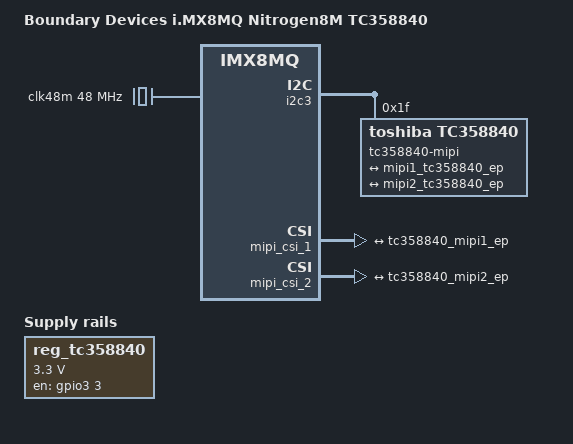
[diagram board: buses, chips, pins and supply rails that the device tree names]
// SPDX-License-Identifier: (GPL-2.0+ OR MIT)
/*
 * Copyright 2020 Boundary Devices
 */

#include "imx8mq-nitrogen8m.dts"

/ {
	model = "Boundary Devices i.MX8MQ Nitrogen8M TC358840";
	compatible = "boundary,imx8mq-nitrogen8m-tc358840", "fsl,imx8mq";

	clk48m: clk48m {
		compatible = "fixed-clock";
		clock-output-names = "clk48m";
		clock-frequency = <48000000>;
		#clock-cells = <0>;
	};

	reg_tc358840: regulator-tc358840 {
		compatible = "regulator-fixed";
		pinctrl-names = "default";
		pinctrl-0 = <&pinctrl_reg_tc358840>;
		regulator-name = "tc358840";
		regulator-min-microvolt = <3300000>;
		regulator-max-microvolt = <3300000>;
		gpio = <&gpio3 3 GPIO_ACTIVE_HIGH>;
		enable-active-high;
		regulator-always-on;
	};
};

&iomuxc {
	/delete-node/ i2c2-ov5640-mipigrp;
	/delete-node/ i2c3-ov5640-mipigrp;

	pinctrl_i2c3_tc358840_mipi: i2c3-tc358840-mipigrp {
		fsl,pins = <
#define GPIRQ_CSI_TC358840	<&gpio3 5 IRQ_TYPE_LEVEL_HIGH>
			MX8MQ_IOMUXC_NAND_CLE_GPIO3_IO5			0x45
#define GP_CSI2_TC358840_RESET	<&gpio3 2 GPIO_ACTIVE_LOW>
			MX8MQ_IOMUXC_NAND_CE1_B_GPIO3_IO2		0x05
		>;
	};

	pinctrl_reg_tc358840: reg-tc358840grp {
		fsl,pins = <
			MX8MQ_IOMUXC_NAND_CE2_B_GPIO3_IO3		0x45
		>;
	};
};

&i2c2 {
	/delete-node/ ov5640-mipi1@3c;
};

&i2c3 {
	/delete-node/ ov5640-mipi2@3c;

	tc358840-mipi@1f {
		compatible = "toshiba,tc358840";
		reg = <0x1f>;
		clocks = <&clk48m>;
		clock-names = "refclk";
		interrupts-extended = GPIRQ_CSI_TC358840;
		reset-gpios = GP_CSI2_TC358840_RESET;
		pinctrl-names = "default";
		pinctrl-0 = <&pinctrl_i2c3_tc358840_mipi>;
		status = "okay";
		/* undocumented properties */
		ddc5v_delay = <1>; /* 50ms */
		csi_port = <1>; /* Single-link */
		/* PLL = 600Mbps to get up to 1080p@60fps */
		pll_prd = /bits/ 16 <7>;
		pll_frs = /bits/ 16 <0>;
		pll_fbd = /bits/ 16 <99>;
		/* Values from Toshiba spreadsheet */
		lineinitcnt = <0x00001388>;
		lptxtimecnt = <0x00000005>;
		tclk_headercnt = <0x00230205>;
		tclk_trailcnt = <0x000C0007>;
		ths_headercnt = <0x00120006>;
		twakeup = <0x00005A00>;
		tclk_postcnt = <0x0000000E>;
		ths_trailcnt = <0x00080008>;
		hstxvregcnt = <0x00000020>;

		port@0 {
			tc358840_mipi1_ep: endpoint {
				remote-endpoint = <&mipi1_tc358840_ep>;
				data-lanes = <1 2 3 4>;
				clock-lanes = <0>;
				clock-noncontinuous;
				link-frequencies = /bits/ 64 <297000000>;
			};
		};

		port@1 {
			tc358840_mipi2_ep: endpoint {
				remote-endpoint = <&mipi2_tc358840_ep>;
				data-lanes = <1 2 3 4>;
				clock-lanes = <0>;
				clock-noncontinuous;
				link-frequencies = /bits/ 64 <297000000>;
			};
		};
	};
};

&mipi_csi_1 {
	port {
		/delete-node/ endpoint@1;

		mipi1_tc358840_ep: endpoint@1 {
			remote-endpoint = <&tc358840_mipi1_ep>;
			data-lanes = <1 2 3 4>;
			csis-hs-settle = <13>;
			csis-clk-settle = <2>;
			csis-wclk;
		};
	};
};

&mipi_csi_2 {
	port {
		/delete-node/ endpoint@1;

		mipi2_tc358840_ep: endpoint@1 {
			remote-endpoint = <&tc358840_mipi2_ep>;
			data-lanes = <1 2 3 4>;
			csis-hs-settle = <13>;
			csis-clk-settle = <2>;
			csis-wclk;
		};
	};
};
